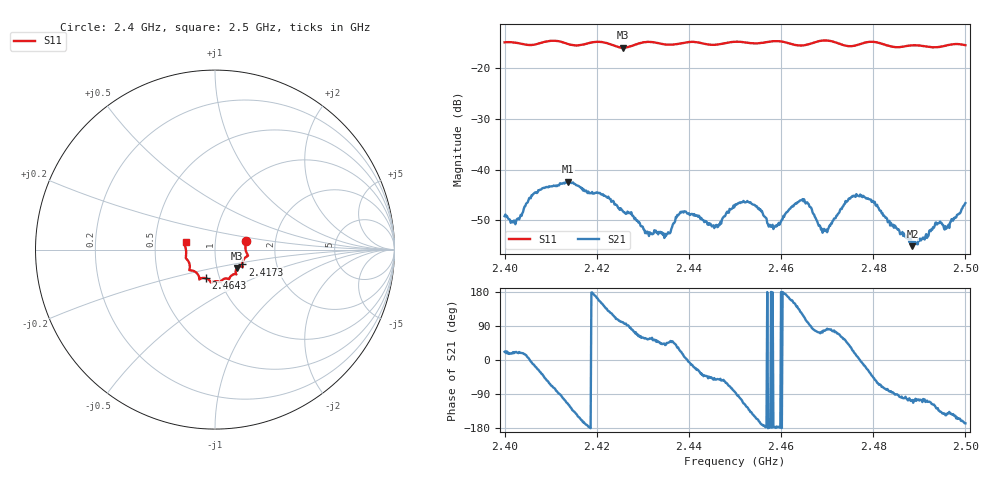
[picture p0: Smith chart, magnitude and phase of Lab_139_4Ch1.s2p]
# Hz S RI R 50
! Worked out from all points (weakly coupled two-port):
!   601 points, 2.4 GHz to 2.5 GHz, reference 50 ohm
!   highest |S21| = -42.40 dB at 2.4138 GHz (marker M1); lowest = -55.1 dB at 2.4885 GHz (marker M2)
!   lowest |S11| = -15.9 dB at 2.4257 GHz (marker M3), VSWR 1.38, Z = 62.4 - j13.1 ohm
!   |S11| at or under -10 dB: start of sweep to end of sweep
!   S12 and S22 are empty: the file has one direction only
!   S11 on the Smith chart (normalised r, x): 2.4 GHz: 1.41, +0.14; 2.4173 GHz: 1.34, -0.23; 2.4643 GHz: 0.86, -0.28; 2.5 GHz: 0.72, +0.06
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2.4e9  0.1737 0.0491  0.00322 0.00128  0 0  0 0
2.402667e9  0.1743 0.037  0.00304 0.0011  0 0  0 0
2.406333e9  0.1711 -0.00292  0.00566 -0.00121  0 0  0 0
2.413833e9  0.1672 -0.0456  -0.0035 -0.00673  0 0  0 0
2.416667e9  0.1526 -0.0751  -0.00607 -0.00237  0 0  0 0
2.417333e9  0.152 -0.0825  -0.006 -0.00142  0 0  0 0
2.425667e9  0.1223 -0.1024  -0.000667 0.00381  0 0  0 0
2.433333e9  0.1129 -0.1367  0.0015 0.00173  0 0  0 0
2.4355e9  0.0976 -0.1405  0.00169 0.00172  0 0  0 0
2.438667e9  0.0812 -0.1584  0.0037 0.00102  0 0  0 0
2.446e9  0.0471 -0.1645  0.00179 -0.00221  0 0  0 0
2.45e9  0.0295 -0.1806  0.000429 -0.00448  0 0  0 0
2.453833e9  0.0116 -0.1762  -0.00365 -0.0027  0 0  0 0
2.458333e9  -0.0201 -0.1842  -0.00258 -0.000124  0 0  0 0
2.464333e9  -0.0502 -0.1602  -0.0029 0.00404  0 0  0 0
2.466667e9  -0.0762 -0.1595  0.000387 0.00404  0 0  0 0
2.4695e9  -0.0875 -0.1665  0.000552 0.00243  0 0  0 0
2.476833e9  -0.1252 -0.1169  0.00545 0.000418  0 0  0 0
2.483333e9  -0.1404 -0.0894  0.000445 -0.00305  0 0  0 0
2.4885e9  -0.1616 -0.0485  -0.000468 -0.00169  0 0  0 0
2.496e9  -0.1672 0.0196  -0.00215 -0.00166  0 0  0 0
2.5e9  -0.1638 0.0417  -0.00455 -0.00104  0 0  0 0
